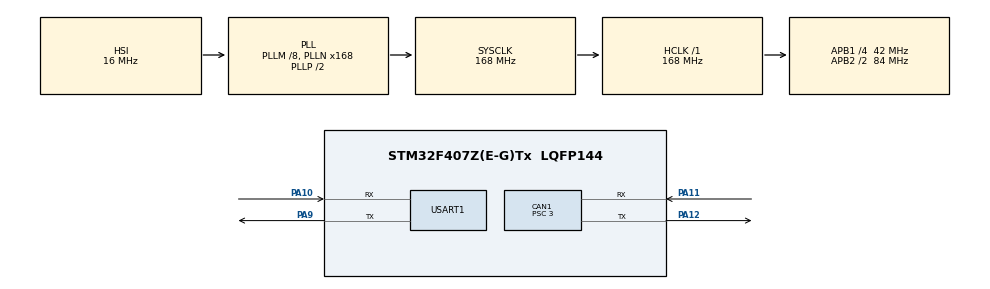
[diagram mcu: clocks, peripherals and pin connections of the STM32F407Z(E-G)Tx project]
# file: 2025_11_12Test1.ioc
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CAN1.ABOM=ENABLE
CAN1.BS1=CAN_BS1_9TQ
CAN1.BS2=CAN_BS2_4TQ
CAN1.CalculateBaudRate=1000000
CAN1.CalculateTimeBit=1000
CAN1.CalculateTimeQuantum=71.42857142857143
CAN1.Prescaler=3
Mcu.Family=STM32F4
Mcu.Name=STM32F407Z(E-G)Tx
Mcu.Package=LQFP144
NVIC.CAN1_RX0_IRQn=true\:0\:0\:false\:false\:true\:true\:true\:true
NVIC.CAN1_TX_IRQn=true\:0\:0\:false\:false\:true\:true\:true\:true
NVIC.PriorityGroup=NVIC_PRIORITYGROUP_4
PA10.Mode=Asynchronous
PA10.Signal=USART1_RX
PA11.Mode=CAN_Activate
PA11.Signal=CAN1_RX
PA12.Mode=CAN_Activate
PA12.Signal=CAN1_TX
PA13.Mode=Serial_Wire
PA13.Signal=SYS_JTMS-SWDIO
PA14.Mode=Serial_Wire
PA14.Signal=SYS_JTCK-SWCLK
PA9.Mode=Asynchronous
PA9.Signal=USART1_TX
PH0-OSC_IN.Mode=HSE-External-Oscillator
PH0-OSC_IN.Signal=RCC_OSC_IN
PH1-OSC_OUT.Mode=HSE-External-Oscillator
PH1-OSC_OUT.Signal=RCC_OSC_OUT
ProjectManager.HeapSize=0x200
ProjectManager.StackSize=0x400
ProjectManager.TargetToolchain=MDK-ARM V5.32
RCC.48MHZClocksFreq_Value=84000000
RCC.AHBFreq_Value=168000000
RCC.APB1CLKDivider=RCC_HCLK_DIV4
RCC.APB1Freq_Value=42000000
RCC.APB1TimFreq_Value=84000000
RCC.APB2CLKDivider=RCC_HCLK_DIV2
RCC.APB2Freq_Value=84000000
RCC.APB2TimFreq_Value=168000000
RCC.CortexFreq_Value=168000000
RCC.HCLKFreq_Value=168000000
RCC.HSE_VALUE=25000000
RCC.HSI_VALUE=16000000
RCC.LSE_VALUE=32768
RCC.PLLM=8
RCC.PLLN=168
RCC.SYSCLKFreq_VALUE=168000000
RCC.SYSCLKSource=RCC_SYSCLKSOURCE_PLLCLK
RCC.VCOOutputFreq_Value=336000000
USART1.VirtualMode=VM_ASYNC
board=custom

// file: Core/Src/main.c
/* USER CODE BEGIN Header */
/**
  ******************************************************************************
  * @file           : main.c
  * @brief          : Main program body
  ******************************************************************************
  * @attention
  *
  * Copyright (c) 2025 STMicroelectronics.
  * All rights reserved.
  *
  * This software is licensed under terms that can be found in the LICENSE file
  * in the root directory of this software component.
  * If no LICENSE file comes with this software, it is provided AS-IS.
  *
  ******************************************************************************
  */
/* USER CODE END Header */
#include "main.h"
#include "can.h"
#include "usart.h"
#include "gpio.h"

/* USER CODE BEGIN Includes */
#include "UserCan.h"
/* USER CODE END Includes */

/* USER CODE BEGIN PTD */
typedef struct _pid_struct_t
{
  float kp;
  float ki;
  float kd;
  float i_max;
  float out_max;

  float ref;      // target value
  float fdb;      // feedback value
  float err[2];   // error and last error

  float p_out;
  float i_out;
  float d_out;
  float output;
}pid_struct_t;
/* USER CODE END PTD */

/* USER CODE BEGIN PV */
extern moto_info_t motor_info[MOTOR_MAX_NUM];
int16_t led_cnt;
pid_struct_t motor_pid[7];
float target_speed;
uint8_t rxbuffer=0;

/* USER CODE END PV */

void SystemClock_Config(void);

/* USER CODE BEGIN 0 */
void pid_init(pid_struct_t *pid,
              float kp,
              float ki,
              float kd,
              float i_max,
              float out_max)
{
  pid->kp      = kp;
  pid->ki      = ki;
  pid->kd      = kd;
  pid->i_max   = i_max;
  pid->out_max = out_max;
}
//pid
float pid_calc(pid_struct_t *pid, float ref, float fdb)
{
  pid->ref = ref;
  pid->fdb = fdb;
  pid->err[1] = pid->err[0];
  pid->err[0] = pid->ref - pid->fdb;

  pid->p_out  = pid->kp * pid->err[0];
  pid->i_out += pid->ki * pid->err[0];
  pid->d_out  = pid->kd * (pid->err[0] - pid->err[1]);
  LIMIT_MIN_MAX(pid->i_out, -pid->i_max, pid->i_max);

  pid->output = pid->p_out + pid->i_out + pid->d_out;
  LIMIT_MIN_MAX(pid->output, -pid->out_max, pid->out_max);
  return pid->output;
}
//can speed send
void Can_Cotrol(float Goal)
{
	    for (uint8_t i = 0; i < 7; i++)
    {
      motor_info[i].set_voltage = pid_calc(&motor_pid[i], Goal, motor_info[i].rotor_speed);
    }

    set_motor_voltage(0,
                      motor_info[0].set_voltage,
                      motor_info[1].set_voltage,
                      motor_info[2].set_voltage,
                      motor_info[3].set_voltage);

    set_motor_voltage(1,
                      motor_info[4].set_voltage,
                      motor_info[5].set_voltage,
                      motor_info[6].set_voltage,
                      0);
}
/* USER CODE END 0 */

int main(void)
{

  /* MCU Configuration--------------------------------------------------------*/

  /* Reset of all peripherals, Initializes the Flash interface and the Systick. */
  HAL_Init();

  /* Configure the system clock */
  SystemClock_Config();

  /* Initialize all configured peripherals */
  MX_GPIO_Init();
  MX_CAN1_Init();
  MX_USART1_UART_Init();
  /* USER CODE BEGIN 2 */
	//can init
	can_user_init(&hcan1);
	//pid init
  for (uint8_t i = 0; i < 7; i++)
  {
    pid_init(&motor_pid[i], 40, 3, 0, 30000, 30000); //init pid parameter, kp=40, ki=3, kd=0, output limit = 30000
  }
  /* USER CODE END 2 */

  /* Infinite loop */
  while (1)
  {

    /* USER CODE BEGIN 3 */

	Can_Cotrol(0);
  }

  /* USER CODE END 3 */
}

void SystemClock_Config(void)
{
  RCC_OscInitTypeDef RCC_OscInitStruct = {0};
  RCC_ClkInitTypeDef RCC_ClkInitStruct = {0};

  /** Configure the main internal regulator output voltage
  */
  __HAL_RCC_PWR_CLK_ENABLE();
  __HAL_PWR_VOLTAGESCALING_CONFIG(PWR_REGULATOR_VOLTAGE_SCALE1);

  /** Initializes the RCC Oscillators according to the specified parameters
  * in the RCC_OscInitTypeDef structure.
  */
  RCC_OscInitStruct.OscillatorType = RCC_OSCILLATORTYPE_HSI;
  RCC_OscInitStruct.HSIState = RCC_HSI_ON;
  RCC_OscInitStruct.HSICalibrationValue = RCC_HSICALIBRATION_DEFAULT;
  RCC_OscInitStruct.PLL.PLLState = RCC_PLL_ON;
  RCC_OscInitStruct.PLL.PLLSource = RCC_PLLSOURCE_HSI;
  RCC_OscInitStruct.PLL.PLLM = 8;
  RCC_OscInitStruct.PLL.PLLN = 168;
  RCC_OscInitStruct.PLL.PLLP = RCC_PLLP_DIV2;
  RCC_OscInitStruct.PLL.PLLQ = 4;
  if (HAL_RCC_OscConfig(&RCC_OscInitStruct) != HAL_OK)
  {
    Error_Handler();
  }

  /** Initializes the CPU, AHB and APB buses clocks
  */
  RCC_ClkInitStruct.ClockType = RCC_CLOCKTYPE_HCLK|RCC_CLOCKTYPE_SYSCLK
                              |RCC_CLOCKTYPE_PCLK1|RCC_CLOCKTYPE_PCLK2;
  RCC_ClkInitStruct.SYSCLKSource = RCC_SYSCLKSOURCE_PLLCLK;
  RCC_ClkInitStruct.AHBCLKDivider = RCC_SYSCLK_DIV1;
  RCC_ClkInitStruct.APB1CLKDivider = RCC_HCLK_DIV4;
  RCC_ClkInitStruct.APB2CLKDivider = RCC_HCLK_DIV2;

  if (HAL_RCC_ClockConfig(&RCC_ClkInitStruct, FLASH_LATENCY_5) != HAL_OK)
  {
    Error_Handler();
  }
}

void Error_Handler(void)
{
  __disable_irq();
  while (1)
  {
  }
}
